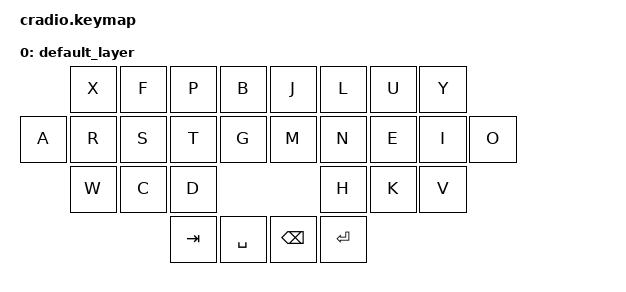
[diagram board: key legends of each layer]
// Copyright (c) 2022 The ZMK Contributors
// SPDX-License-Identifier: MIT

#include <behaviors.dtsi>
#include <dt-bindings/zmk/keys.h>
#include <dt-bindings/zmk/bt.h>

// Home row mods macro
#define HRML(k1,k2,k3,k4) &ht LSHFT k1  &ht LALT k2  &ht LCTRL k3  &ht LGUI k4
#define HRMR(k1,k2,k3,k4) &ht RGUI k1  &ht RCTRL k2  &ht RALT k3  &ht RSHFT k4

/ {


    keymap {
        compatible = "zmk,keymap";
        default_layer {
			bindings = <
					   &kp X      	  &kp F            &kp P           &kp B			&kp J    &kp L      &kp U   &kp Y
		&kp A 		   &kp R 		  &kp S 		   &kp T    	   &kp G 			&kp M    &kp N      &kp E 	&kp I 	&kp O
					   &kp W          &kp C            &kp D 				            		 &kp H      &kp K 	&kp V
          				                               &kp TAB 		   &kp SPC			&kp BSPC &kp ENTER
			>;
        };

    };
};
